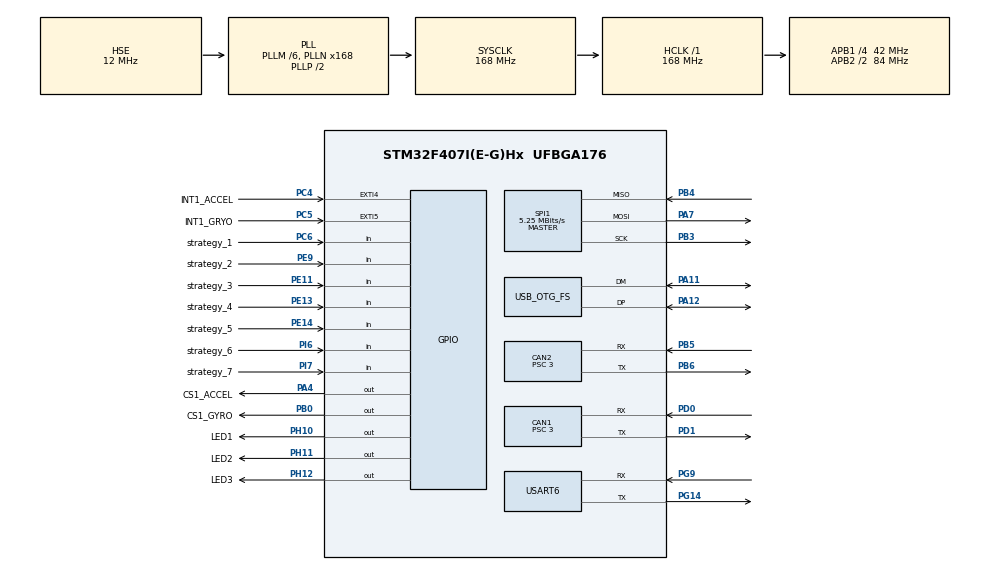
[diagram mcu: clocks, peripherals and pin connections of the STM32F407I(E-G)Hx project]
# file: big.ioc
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CAN1.ABOM=ENABLE
CAN1.AWUM=ENABLE
CAN1.BS1=CAN_BS1_10TQ
CAN1.BS2=CAN_BS2_3TQ
CAN1.CalculateBaudRate=1000000
CAN1.CalculateTimeBit=1000
CAN1.CalculateTimeQuantum=71.42857142857143
CAN1.Prescaler=3
CAN1.TXFP=ENABLE
CAN2.ABOM=ENABLE
CAN2.AWUM=ENABLE
CAN2.BS1=CAN_BS1_10TQ
CAN2.BS2=CAN_BS2_3TQ
CAN2.CalculateBaudRate=1000000
CAN2.CalculateTimeBit=1000
CAN2.CalculateTimeQuantum=71.42857142857143
CAN2.Prescaler=3
CAN2.TXFP=ENABLE
Dma.Request0=SPI1_RX
Dma.Request1=SPI1_TX
Dma.Request2=USART6_RX
Dma.Request3=USART6_TX
Dma.SPI1_RX.0.Direction=DMA_PERIPH_TO_MEMORY
Dma.SPI1_RX.0.FIFOMode=DMA_FIFOMODE_DISABLE
Dma.SPI1_RX.0.Instance=DMA2_Stream0
Dma.SPI1_RX.0.MemDataAlignment=DMA_MDATAALIGN_BYTE
Dma.SPI1_RX.0.MemInc=DMA_MINC_ENABLE
Dma.SPI1_RX.0.Mode=DMA_NORMAL
Dma.SPI1_RX.0.PeriphDataAlignment=DMA_PDATAALIGN_BYTE
Dma.SPI1_RX.0.PeriphInc=DMA_PINC_DISABLE
Dma.SPI1_RX.0.Priority=DMA_PRIORITY_VERY_HIGH
Dma.SPI1_TX.1.Direction=DMA_MEMORY_TO_PERIPH
Dma.SPI1_TX.1.FIFOMode=DMA_FIFOMODE_DISABLE
Dma.SPI1_TX.1.Instance=DMA2_Stream3
Dma.SPI1_TX.1.MemDataAlignment=DMA_MDATAALIGN_BYTE
Dma.SPI1_TX.1.MemInc=DMA_MINC_ENABLE
Dma.SPI1_TX.1.Mode=DMA_NORMAL
Dma.SPI1_TX.1.PeriphDataAlignment=DMA_PDATAALIGN_BYTE
Dma.SPI1_TX.1.PeriphInc=DMA_PINC_DISABLE
Dma.SPI1_TX.1.Priority=DMA_PRIORITY_HIGH
Dma.USART6_RX.2.Direction=DMA_PERIPH_TO_MEMORY
Dma.USART6_RX.2.FIFOMode=DMA_FIFOMODE_DISABLE
Dma.USART6_RX.2.Instance=DMA2_Stream1
Dma.USART6_RX.2.MemDataAlignment=DMA_MDATAALIGN_BYTE
Dma.USART6_RX.2.MemInc=DMA_MINC_ENABLE
Dma.USART6_RX.2.Mode=DMA_CIRCULAR
Dma.USART6_RX.2.PeriphDataAlignment=DMA_PDATAALIGN_BYTE
Dma.USART6_RX.2.PeriphInc=DMA_PINC_DISABLE
Dma.USART6_RX.2.Priority=DMA_PRIORITY_HIGH
Dma.USART6_TX.3.Direction=DMA_MEMORY_TO_PERIPH
Dma.USART6_TX.3.FIFOMode=DMA_FIFOMODE_DISABLE
Dma.USART6_TX.3.Instance=DMA2_Stream6
Dma.USART6_TX.3.MemDataAlignment=DMA_MDATAALIGN_BYTE
Dma.USART6_TX.3.MemInc=DMA_MINC_ENABLE
Dma.USART6_TX.3.Mode=DMA_NORMAL
Dma.USART6_TX.3.PeriphDataAlignment=DMA_PDATAALIGN_BYTE
Dma.USART6_TX.3.PeriphInc=DMA_PINC_DISABLE
Dma.USART6_TX.3.Priority=DMA_PRIORITY_LOW
FREERTOS.Tasks01=LEDTask,0,128,StartLEDTask,As weak,NULL,Dynamic,NULL,NULL;ControlTask,0,256,StartControlTask,As weak,NULL,Dynamic,NULL,NULL;MonitorTask,3,256,StartMonitorTask,As weak,NULL,Dynamic,NULL,NULL;CommunityTask,2,512,StartCommunityTask,As weak,NULL,Dynamic,NULL,NULL
Mcu.Family=STM32F4
Mcu.Name=STM32F407I(E-G)Hx
Mcu.Package=UFBGA176
NVIC.CAN1_RX0_IRQn=true\:5\:0\:false\:false\:true\:true\:true\:true\:true
NVIC.CAN2_RX0_IRQn=true\:5\:0\:true\:false\:true\:true\:true\:true\:true
NVIC.DMA2_Stream0_IRQn=true\:5\:0\:false\:false\:true\:true\:false\:true\:true
NVIC.DMA2_Stream1_IRQn=true\:5\:0\:false\:false\:true\:true\:false\:true\:true
NVIC.DMA2_Stream3_IRQn=true\:5\:0\:false\:false\:true\:true\:false\:true\:true
NVIC.DMA2_Stream6_IRQn=true\:5\:0\:false\:false\:true\:true\:false\:true\:true
NVIC.OTG_FS_IRQn=true\:5\:0\:false\:false\:true\:true\:false\:true\:true
NVIC.PriorityGroup=NVIC_PRIORITYGROUP_4
NVIC.TIM2_IRQn=true\:15\:0\:false\:false\:true\:false\:false\:true\:true
NVIC.TIM4_IRQn=true\:5\:0\:false\:false\:true\:true\:true\:true\:true
NVIC.TimeBase=TIM2_IRQn
NVIC.TimeBaseIP=TIM2
NVIC.USART6_IRQn=true\:5\:0\:false\:false\:true\:true\:true\:true\:true
PA11.Mode=Device_Only
PA11.Signal=USB_OTG_FS_DM
PA12.Mode=Device_Only
PA12.Signal=USB_OTG_FS_DP
PA13.Mode=Serial_Wire
PA13.Signal=SYS_JTMS-SWDIO
PA14.Mode=Serial_Wire
PA14.Signal=SYS_JTCK-SWCLK
PA4.GPIO_Label=CS1_ACCEL
PA4.GPIO_PuPd=GPIO_PULLUP
PA4.GPIO_Speed=GPIO_SPEED_FREQ_HIGH
PA4.PinState=GPIO_PIN_SET
PA4.Signal=GPIO_Output
PA7.Mode=Full_Duplex_Master
PA7.Signal=SPI1_MOSI
PA9.Signal=USART1_TX
PB0.GPIO_Label=CS1_GYRO
PB0.GPIO_PuPd=GPIO_PULLUP
PB0.GPIO_Speed=GPIO_SPEED_FREQ_HIGH
PB0.PinState=GPIO_PIN_SET
PB0.Signal=GPIO_Output
PB3.Mode=Full_Duplex_Master
PB3.Signal=SPI1_SCK
PB4.Mode=Full_Duplex_Master
PB4.Signal=SPI1_MISO
PB5.Mode=CAN_Activate
PB5.Signal=CAN2_RX
PB6.Mode=CAN_Activate
PB6.Signal=CAN2_TX
PC10.Signal=USART3_TX
PC11.Signal=USART3_RX
PC4.GPIO_Label=INT1_ACCEL
PC4.GPIO_ModeDefaultEXTI=GPIO_MODE_IT_FALLING
PC4.GPIO_PuPd=GPIO_PULLUP
PC4.Signal=GPXTI4
PC5.GPIO_Label=INT1_GRYO
PC5.GPIO_ModeDefaultEXTI=GPIO_MODE_IT_FALLING
PC5.GPIO_PuPd=GPIO_PULLUP
PC5.Signal=GPXTI5
PC6.GPIO_Label=strategy_1
PC6.Signal=GPIO_Input
PD0.Mode=CAN_Activate
PD0.Signal=CAN1_RX
PD1.Mode=CAN_Activate
PD1.Signal=CAN1_TX
PE11.GPIO_Label=strategy_3
PE11.Signal=GPIO_Input
PE13.GPIO_Label=strategy_4
PE13.Signal=GPIO_Input
PE14.GPIO_Label=strategy_5
PE14.Signal=GPIO_Input
PE9.GPIO_Label=strategy_2
PE9.Signal=GPIO_Input
PG14.Mode=Asynchronous
PG14.Signal=USART6_TX
PG9.Mode=Asynchronous
PG9.Signal=USART6_RX
PH0-OSC_IN.Mode=HSE-External-Oscillator
PH0-OSC_IN.Signal=RCC_OSC_IN
PH1-OSC_OUT.Mode=HSE-External-Oscillator
PH1-OSC_OUT.Signal=RCC_OSC_OUT
PH10.GPIO_Label=LED1
PH10.Signal=GPIO_Output
PH11.GPIO_Label=LED2
PH11.PinState=GPIO_PIN_RESET
PH11.Signal=GPIO_Output
PH12.GPIO_Label=LED3
PH12.Signal=GPIO_Output
PI6.GPIO_Label=strategy_6
PI6.Signal=GPIO_Input
PI7.GPIO_Label=strategy_7
PI7.Signal=GPIO_Input
ProjectManager.HeapSize=0x200
ProjectManager.StackSize=0x400
ProjectManager.TargetToolchain=MDK-ARM V5.32
RCC.48MHZClocksFreq_Value=48000000
RCC.AHBFreq_Value=168000000
RCC.APB1CLKDivider=RCC_HCLK_DIV4
RCC.APB1Freq_Value=42000000
RCC.APB1TimFreq_Value=84000000
RCC.APB2CLKDivider=RCC_HCLK_DIV2
RCC.APB2Freq_Value=84000000
RCC.APB2TimFreq_Value=168000000
RCC.CortexFreq_Value=168000000
RCC.HCLKFreq_Value=168000000
RCC.HSE_VALUE=12000000
RCC.HSI_VALUE=16000000
RCC.LSE_VALUE=32768
RCC.PLLM=6
RCC.PLLN=168
RCC.PLLQ=7
RCC.SYSCLKFreq_VALUE=168000000
RCC.SYSCLKSource=RCC_SYSCLKSOURCE_PLLCLK
RCC.VCOOutputFreq_Value=336000000
RTC.Date=17
RTC.Hours=4
RTC.Minutes=43
RTC.Month=RTC_MONTH_MAY
RTC.Seconds=10
RTC.WeekDay=RTC_WEEKDAY_SATURDAY
SPI1.BaudRatePrescaler=SPI_BAUDRATEPRESCALER_16
SPI1.CLKPhase=SPI_PHASE_2EDGE
SPI1.CLKPolarity=SPI_POLARITY_HIGH
SPI1.CalculateBaudRate=5.25 MBits/s
SPI1.Direction=SPI_DIRECTION_2LINES
SPI1.Mode=SPI_MODE_MASTER
SPI1.VirtualType=VM_MASTER
TIM4.AutoReloadPreload=TIM_AUTORELOAD_PRELOAD_ENABLE
TIM4.Period=499
TIM4.Prescaler=83
USART6.Parity=PARITY_EVEN
USART6.VirtualMode=VM_ASYNC
USB_DEVICE.APP_RX_DATA_SIZE-CDC_FS=128
USB_DEVICE.APP_TX_DATA_SIZE-CDC_FS=128
USB_DEVICE.CLASS_NAME_FS=CDC
USB_DEVICE.VirtualMode-CDC_FS=Cdc
USB_DEVICE.VirtualModeFS=Cdc_FS
USB_OTG_FS.VirtualMode=Device_Only
VP_FREERTOS_VS_CMSIS_V1.Mode=CMSIS_V1
VP_IWDG_VS_IWDG.Mode=IWDG_Activate
VP_RTC_VS_RTC_Activate.Mode=RTC_Enabled
VP_RTC_VS_RTC_Calendar.Mode=RTC_Calendar
VP_SYS_VS_tim2.Mode=TIM2
VP_TIM4_VS_ClockSourceINT.Mode=Internal
VP_USB_DEVICE_VS_USB_DEVICE_CDC_FS.Mode=CDC_FS
board=custom

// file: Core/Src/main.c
/* USER CODE BEGIN Header */
/**
  ******************************************************************************
  * @file           : main.c
  * @brief          : Main program body
  ******************************************************************************
  * @attention
  *
  * Copyright (c) 2024 STMicroelectronics.
  * All rights reserved.
  *
  * This software is licensed under terms that can be found in the LICENSE file
  * in the root directory of this software component.
  * If no LICENSE file comes with this software, it is provided AS-IS.
  *
  ******************************************************************************
  */
/* USER CODE END Header */
#include "main.h"
#include "cmsis_os.h"
#include "can.h"
#include "dma.h"
#include "iwdg.h"
#include "rtc.h"
#include "spi.h"
#include "tim.h"
#include "usart.h"
#include "usb_device.h"
#include "gpio.h"

/* USER CODE BEGIN Includes */
#include "driver.h"
#include "device.h"
#include "WL_debug_uart.h"
/* USER CODE END Includes */

void SystemClock_Config(void);
void MX_FREERTOS_Init(void);

int main(void)
{

  /* MCU Configuration--------------------------------------------------------*/

  /* Reset of all peripherals, Initializes the Flash interface and the Systick. */

	HAL_Init();

  /* Configure the system clock */
  SystemClock_Config();

  /* Initialize all configured peripherals */
  MX_GPIO_Init();
  MX_DMA_Init();
  MX_SPI1_Init();
  MX_CAN1_Init();
  MX_CAN2_Init();
  MX_TIM4_Init();
//  MX_IWDG_Init();
  MX_USART6_UART_Init();
  MX_RTC_Init();
  /* USER CODE BEGIN 2 */
  WL_UART_Init();
	MX_USB_DEVICE_Init();

  imu_sensor.init(&imu_sensor);

  DEVICE_Init();
  DRIVER_Init();

  /* USER CODE END 2 */

  /* Call init function for freertos objects (in cmsis_os2.c) */
  MX_FREERTOS_Init();

  /* Start scheduler */
  osKernelStart();

  /* We should never get here as control is now taken by the scheduler */

  /* Infinite loop */
  while (1)
  {

  }
}

void SystemClock_Config(void)
{
  RCC_OscInitTypeDef RCC_OscInitStruct = {0};
  RCC_ClkInitTypeDef RCC_ClkInitStruct = {0};

  /** Configure the main internal regulator output voltage
  */
  __HAL_RCC_PWR_CLK_ENABLE();
  __HAL_PWR_VOLTAGESCALING_CONFIG(PWR_REGULATOR_VOLTAGE_SCALE1);

  /** Initializes the RCC Oscillators according to the specified parameters
  * in the RCC_OscInitTypeDef structure.
  */
  RCC_OscInitStruct.OscillatorType = RCC_OSCILLATORTYPE_LSI|RCC_OSCILLATORTYPE_HSE;
  RCC_OscInitStruct.HSEState = RCC_HSE_ON;
  RCC_OscInitStruct.LSIState = RCC_LSI_ON;
  RCC_OscInitStruct.PLL.PLLState = RCC_PLL_ON;
  RCC_OscInitStruct.PLL.PLLSource = RCC_PLLSOURCE_HSE;
  RCC_OscInitStruct.PLL.PLLM = 6;
  RCC_OscInitStruct.PLL.PLLN = 168;
  RCC_OscInitStruct.PLL.PLLP = RCC_PLLP_DIV2;
  RCC_OscInitStruct.PLL.PLLQ = 7;
  if (HAL_RCC_OscConfig(&RCC_OscInitStruct) != HAL_OK)
  {
    Error_Handler();
  }

  /** Initializes the CPU, AHB and APB buses clocks
  */
  RCC_ClkInitStruct.ClockType = RCC_CLOCKTYPE_HCLK|RCC_CLOCKTYPE_SYSCLK
                              |RCC_CLOCKTYPE_PCLK1|RCC_CLOCKTYPE_PCLK2;
  RCC_ClkInitStruct.SYSCLKSource = RCC_SYSCLKSOURCE_PLLCLK;
  RCC_ClkInitStruct.AHBCLKDivider = RCC_SYSCLK_DIV1;
  RCC_ClkInitStruct.APB1CLKDivider = RCC_HCLK_DIV4;
  RCC_ClkInitStruct.APB2CLKDivider = RCC_HCLK_DIV2;

  if (HAL_RCC_ClockConfig(&RCC_ClkInitStruct, FLASH_LATENCY_5) != HAL_OK)
  {
    Error_Handler();
  }
}

void HAL_TIM_PeriodElapsedCallback(TIM_HandleTypeDef *htim)
{
  /* USER CODE BEGIN Callback 0 */
    static uint16_t i = 0;
	if (htim->Instance == TIM4)     //cubemx配置时，需要将定时器频率改成1khz
	{
		if (i++ == 60000)
		{
			i = 0;
		}

		if ((imu_sensor.work_state.err_code == IMU_NONE_ERR) || \
				(imu_sensor.work_state.err_code == IMU_DATA_CALI))
		{
			imu_sensor.update(&imu_sensor);
		}

	}
  /* USER CODE END Callback 0 */
  if (htim->Instance == TIM2)
  {
    HAL_IncTick();
  }
}

void Error_Handler(void)
{
  __disable_irq();
  while (1)
  {
  }
}

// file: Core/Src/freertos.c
/* USER CODE BEGIN Header */
/**
  ******************************************************************************
  * File Name          : freertos.c
  * Description        : Code for freertos applications
  ******************************************************************************
  * @attention
  *
  * Copyright (c) 2024 STMicroelectronics.
  * All rights reserved.
  *
  * This software is licensed under terms that can be found in the LICENSE file
  * in the root directory of this software component.
  * If no LICENSE file comes with this software, it is provided AS-IS.
  *
  ******************************************************************************
  */
/* USER CODE END Header */

#include "FreeRTOS.h"
#include "task.h"
#include "main.h"
#include "cmsis_os.h"

osThreadId LEDTaskHandle;
osThreadId ControlTaskHandle;
osThreadId MonitorTaskHandle;
osThreadId CommunityTaskHandle;

void StartLEDTask(void const * argument);
void StartControlTask(void const * argument);
void StartMonitorTask(void const * argument);
void StartCommunityTask(void const * argument);

extern void MX_USB_DEVICE_Init(void);
void MX_FREERTOS_Init(void); /* (MISRA C 2004 rule 8.1) */

/* GetIdleTaskMemory prototype (linked to static allocation support) */
void vApplicationGetIdleTaskMemory( StaticTask_t **ppxIdleTaskTCBBuffer, StackType_t **ppxIdleTaskStackBuffer, uint32_t *pulIdleTaskStackSize );

/* USER CODE BEGIN GET_IDLE_TASK_MEMORY */
static StaticTask_t xIdleTaskTCBBuffer;
static StackType_t xIdleStack[configMINIMAL_STACK_SIZE];

void vApplicationGetIdleTaskMemory( StaticTask_t **ppxIdleTaskTCBBuffer, StackType_t **ppxIdleTaskStackBuffer, uint32_t *pulIdleTaskStackSize )
{
  *ppxIdleTaskTCBBuffer = &xIdleTaskTCBBuffer;
  *ppxIdleTaskStackBuffer = &xIdleStack[0];
  *pulIdleTaskStackSize = configMINIMAL_STACK_SIZE;
  /* place for user code */
}
/* USER CODE END GET_IDLE_TASK_MEMORY */

void MX_FREERTOS_Init(void) {

  /* Create the thread(s) */
  /* definition and creation of LEDTask */
  osThreadDef(LEDTask, StartLEDTask, osPriorityNormal, 0, 128);
  LEDTaskHandle = osThreadCreate(osThread(LEDTask), NULL);

  /* definition and creation of ControlTask */
  osThreadDef(ControlTask, StartControlTask, osPriorityNormal, 0, 256);
  ControlTaskHandle = osThreadCreate(osThread(ControlTask), NULL);

  /* definition and creation of MonitorTask */
  osThreadDef(MonitorTask, StartMonitorTask, osPriorityRealtime, 0, 256);
  MonitorTaskHandle = osThreadCreate(osThread(MonitorTask), NULL);

  /* definition and creation of CommunityTask */
  osThreadDef(CommunityTask, StartCommunityTask, osPriorityHigh, 0, 512);
  CommunityTaskHandle = osThreadCreate(osThread(CommunityTask), NULL);

}

__weak void StartLEDTask(void const * argument)
{
  /* init code for USB_DEVICE */
  MX_USB_DEVICE_Init();
  for(;;)
  {
    osDelay(1);
  }
}

__weak void StartControlTask(void const * argument)
{
  for(;;)
  {
    osDelay(1);
  }
}

__weak void StartMonitorTask(void const * argument)
{
  for(;;)
  {
    osDelay(1);
  }
}

__weak void StartCommunityTask(void const * argument)
{
  for(;;)
  {
    osDelay(1);
  }
}
